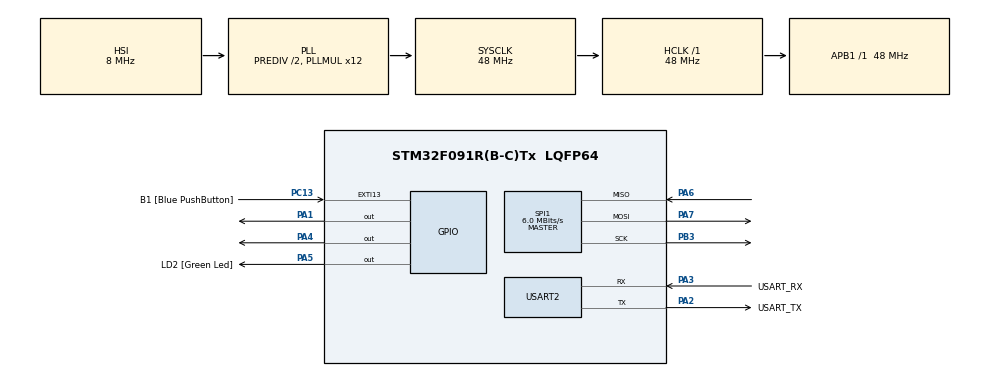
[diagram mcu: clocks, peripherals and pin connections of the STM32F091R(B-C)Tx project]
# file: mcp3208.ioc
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Mcu.Family=STM32F0
Mcu.Name=STM32F091R(B-C)Tx
Mcu.Package=LQFP64
PA1.Signal=GPIO_Output
PA13.GPIO_Label=TMS
PA13.Mode=Serial_Wire
PA13.Signal=SYS_SWDIO
PA14.GPIO_Label=TCK
PA14.Mode=Serial_Wire
PA14.Signal=SYS_SWCLK
PA2.GPIO_Label=USART_TX
PA2.GPIO_Mode=GPIO_MODE_AF_PP
PA2.GPIO_PuPd=GPIO_NOPULL
PA2.GPIO_Speed=GPIO_SPEED_FREQ_LOW
PA2.Mode=Asynchronous
PA2.Signal=USART2_TX
PA3.GPIO_Label=USART_RX
PA3.GPIO_Mode=GPIO_MODE_AF_PP
PA3.GPIO_PuPd=GPIO_NOPULL
PA3.GPIO_Speed=GPIO_SPEED_FREQ_LOW
PA3.Mode=Asynchronous
PA3.Signal=USART2_RX
PA4.Signal=GPIO_Output
PA5.GPIO_Label=LD2 [Green Led]
PA5.GPIO_Mode=GPIO_MODE_OUTPUT_PP
PA5.GPIO_PuPd=GPIO_NOPULL
PA5.GPIO_Speed=GPIO_SPEED_FREQ_LOW
PA5.Signal=GPIO_Output
PA6.Mode=Full_Duplex_Master
PA6.Signal=SPI1_MISO
PA7.Mode=Full_Duplex_Master
PA7.Signal=SPI1_MOSI
PB3.Mode=Full_Duplex_Master
PB3.Signal=SPI1_SCK
PC13.GPIO_Label=B1 [Blue PushButton]
PC13.GPIO_ModeDefaultEXTI=GPIO_MODE_IT_FALLING
PC13.Signal=GPXTI13
PC14OSC32_IN.Mode=LSE-External-Oscillator
PC14OSC32_IN.Signal=RCC_OSC32_IN
PC15OSC32_OUT.Mode=LSE-External-Oscillator
PC15OSC32_OUT.Signal=RCC_OSC32_OUT
PF0-OSC_IN.Mode=HSE-External-Clock-Source
PF0-OSC_IN.Signal=RCC_OSC_IN
PF1-OSC_OUT.Signal=RCC_OSC_OUT
ProjectManager.HeapSize=0x200
ProjectManager.StackSize=0x400
ProjectManager.TargetToolchain=STM32CubeIDE
RCC.AHBFreq_Value=48000000
RCC.APB1Freq_Value=48000000
RCC.APB1TimFreq_Value=48000000
RCC.FLatency-AdvancedSettings=FLASH_LATENCY_1
RCC.HCLKFreq_Value=48000000
RCC.PLLDivider=RCC_PREDIV_DIV2
RCC.PLLMUL=RCC_PLL_MUL12
RCC.PREFETCH_ENABLE-AdvancedSettings=1
RCC.SYSCLKFreq_VALUE=48000000
RCC.SYSCLKSource=RCC_SYSCLKSOURCE_PLLCLK
SPI1.BaudRatePrescaler=SPI_BAUDRATEPRESCALER_8
SPI1.CalculateBaudRate=6.0 MBits/s
SPI1.DataSize=SPI_DATASIZE_8BIT
SPI1.Direction=SPI_DIRECTION_2LINES
SPI1.Mode=SPI_MODE_MASTER
SPI1.NSSPMode=SPI_NSS_PULSE_DISABLE
SPI1.VirtualType=VM_MASTER
USART2.VirtualMode=VM_ASYNC
USART2.VirtualMode-Asynchronous=VM_ASYNC
board=NUCLEO-F091RC

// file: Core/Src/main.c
/* USER CODE BEGIN Header */
/**
  ******************************************************************************
  * @file           : main.c
  * @brief          : Main program body
  ******************************************************************************
  * @attention
  *
  * Copyright (c) 2022 STMicroelectronics.
  * All rights reserved.
  *
  * This software is licensed under terms that can be found in the LICENSE file
  * in the root directory of this software component.
  * If no LICENSE file comes with this software, it is provided AS-IS.
  *
  ******************************************************************************
  */
/* USER CODE END Header */
#include "main.h"

/* USER CODE BEGIN PM */
#define MCP3208_START_BIT 0x04
#define MCP3208_MODE_SINGLE 0x02
#define MCP3208_MODE_DIFF 0x00
/* USER CODE END PM */

SPI_HandleTypeDef hspi1;

UART_HandleTypeDef huart2;

/* USER CODE BEGIN PV */
uint16_t adcA[9] = {0};
uint16_t adcB[9] = {0};
double voltage13, voltage2, voltage3, current1, current2, current3 =0;
float voltage1 =0;
/* USER CODE END PV */

void SystemClock_Config(void);
static void MX_GPIO_Init(void);
static void MX_USART2_UART_Init(void);
static void MX_SPI1_Init(void);

/* USER CODE BEGIN 0 */
uint16_t AMCP3208_read_u16(uint8_t channel){
  uint8_t aTxBuffer[3];
  uint8_t aRxBuffer[3];

  aTxBuffer[0] = MCP3208_START_BIT | MCP3208_MODE_SINGLE | ((channel & 0x04) >> 2);
  aTxBuffer[1] = channel << 6;
  aTxBuffer[2] = 0x00;

  HAL_GPIO_WritePin(GPIOA, GPIO_PIN_4, GPIO_PIN_RESET);

  if(HAL_SPI_TransmitReceive(&hspi1, aTxBuffer, aRxBuffer, 3, 100) != HAL_OK)
  {
    /* Transfer error in transmission process */
    Error_Handler();
  }

 HAL_GPIO_WritePin(GPIOA, GPIO_PIN_4, GPIO_PIN_SET);

  // RX
  uint16_t conv_result = ((uint16_t)(aRxBuffer[1] & 0x0f) << 8) | (uint16_t)aRxBuffer[2];

  return conv_result;
}

uint16_t BMCP3208_read_u16(uint8_t channel){
  uint8_t aTxBuffer[3];
  uint8_t aRxBuffer[3];

  aTxBuffer[0] = MCP3208_START_BIT | MCP3208_MODE_SINGLE | ((channel & 0x04) >> 2);
  aTxBuffer[1] = (channel & 0x03) << 6;
  aTxBuffer[2] = 0;

  HAL_GPIO_WritePin(GPIOA, GPIO_PIN_1, GPIO_PIN_RESET);

  if(HAL_SPI_TransmitReceive(&hspi1, aTxBuffer, aRxBuffer, 3, 100) != HAL_OK)
  {
    /* Transfer error in transmission process */
    Error_Handler();
  }

 HAL_GPIO_WritePin(GPIOA, GPIO_PIN_1, GPIO_PIN_SET);

  // RX
  uint16_t conv_result = ((uint16_t)(aRxBuffer[1] & 0x0f) << 8) | (uint16_t)aRxBuffer[2];

  return conv_result;
}
/* USER CODE END 0 */

int main(void)
{

  /* MCU Configuration--------------------------------------------------------*/

  /* Reset of all peripherals, Initializes the Flash interface and the Systick. */
  HAL_Init();

  /* Configure the system clock */
  SystemClock_Config();

  /* Initialize all configured peripherals */
  MX_GPIO_Init();
  MX_USART2_UART_Init();
  MX_SPI1_Init();

  /* Infinite loop */
  while (1)
  {
    /* USER CODE BEGIN 3 */
	  adcA[0] = AMCP3208_read_u16(0);
	  //adcA[1] = AMCP3208_read_u16(1);
	  //adcA[2] = AMCP3208_read_u16(2);

	  //voltage1 =  (3.3*adcA[0])/4096;

	  	 //voltage1 = ((double)adcA[0]* 1024)/5;
		 voltage1 = ( adcA[0] * (5.9/4095));
		  //voltage2 = ((double) adcA[1] * (3.3/4095));
		 // voltage3 = ((double) adcA[2] * (3.3/4095));
		 /*// current1 = (2.66*voltage1) - 1.4053; //0.5 V basics
		  current1 = (2.6415*voltage1) - 1.3762;
		  if (current1 < 0){
			  current1 = 0;
		  }*/

		  current1 = (4.1597*voltage1) - 1.4276;
		  current2 = (4.1597*voltage2) - 1.4276;
		  current3 = (4.1597*voltage3) - 1.4276;
		  //current1 = (2.66*voltage1) - 1.4053;
	    if (current1 >= 2.3){
	    			HAL_GPIO_WritePin(GPIOA, GPIO_PIN_1, GPIO_PIN_RESET);
	    			HAL_Delay(1000);
	    		}
	    		else {
	    			HAL_GPIO_WritePin(GPIOA, GPIO_PIN_1, GPIO_PIN_SET);

	    	}
		//current2 = (0.089*voltage1) + 0.0018;

		/* 0.25Amp Current Detector Amplifier if (current2 >= 0.27){
			HAL_GPIO_WritePin(GPIOA, GPIO_PIN_1, GPIO_PIN_RESET);
			HAL_Delay(5000);
		}
		else {
			HAL_GPIO_WritePin(GPIOA, GPIO_PIN_1, GPIO_PIN_SET);

	}*/

	 // adcA[0] = AMCP3208_read_u16(0);

		  //adcA[1] = AMCP3208_read_u16(1);
		  //adcA[1] = AMCP3208_read_u16(1);
		  /*voltage1 = ( (double) adcA[0]* 5)/ (4095* 0.94); //0.905
		  current1 = (voltage1 - 0.1)/ 0.448;
*/
  }
  /* USER CODE END 3 */
}

void SystemClock_Config(void)
{
  RCC_OscInitTypeDef RCC_OscInitStruct = {0};
  RCC_ClkInitTypeDef RCC_ClkInitStruct = {0};
  RCC_PeriphCLKInitTypeDef PeriphClkInit = {0};

  /** Initializes the RCC Oscillators according to the specified parameters
  * in the RCC_OscInitTypeDef structure.
  */
  RCC_OscInitStruct.OscillatorType = RCC_OSCILLATORTYPE_HSI;
  RCC_OscInitStruct.HSIState = RCC_HSI_ON;
  RCC_OscInitStruct.HSICalibrationValue = RCC_HSICALIBRATION_DEFAULT;
  RCC_OscInitStruct.PLL.PLLState = RCC_PLL_ON;
  RCC_OscInitStruct.PLL.PLLSource = RCC_PLLSOURCE_HSI;
  RCC_OscInitStruct.PLL.PLLMUL = RCC_PLL_MUL12;
  RCC_OscInitStruct.PLL.PREDIV = RCC_PREDIV_DIV2;
  if (HAL_RCC_OscConfig(&RCC_OscInitStruct) != HAL_OK)
  {
    Error_Handler();
  }
  /** Initializes the CPU, AHB and APB buses clocks
  */
  RCC_ClkInitStruct.ClockType = RCC_CLOCKTYPE_HCLK|RCC_CLOCKTYPE_SYSCLK
                              |RCC_CLOCKTYPE_PCLK1;
  RCC_ClkInitStruct.SYSCLKSource = RCC_SYSCLKSOURCE_PLLCLK;
  RCC_ClkInitStruct.AHBCLKDivider = RCC_SYSCLK_DIV1;
  RCC_ClkInitStruct.APB1CLKDivider = RCC_HCLK_DIV1;

  if (HAL_RCC_ClockConfig(&RCC_ClkInitStruct, FLASH_LATENCY_1) != HAL_OK)
  {
    Error_Handler();
  }
  PeriphClkInit.PeriphClockSelection = RCC_PERIPHCLK_USART2;
  PeriphClkInit.Usart2ClockSelection = RCC_USART2CLKSOURCE_PCLK1;
  if (HAL_RCCEx_PeriphCLKConfig(&PeriphClkInit) != HAL_OK)
  {
    Error_Handler();
  }
}

static void MX_SPI1_Init(void)
{

  /* SPI1 parameter configuration*/
  hspi1.Instance = SPI1;
  hspi1.Init.Mode = SPI_MODE_MASTER;
  hspi1.Init.Direction = SPI_DIRECTION_2LINES;
  hspi1.Init.DataSize = SPI_DATASIZE_8BIT;
  hspi1.Init.CLKPolarity = SPI_POLARITY_LOW;
  hspi1.Init.CLKPhase = SPI_PHASE_1EDGE;
  hspi1.Init.NSS = SPI_NSS_SOFT;
  hspi1.Init.BaudRatePrescaler = SPI_BAUDRATEPRESCALER_8;
  hspi1.Init.FirstBit = SPI_FIRSTBIT_MSB;
  hspi1.Init.TIMode = SPI_TIMODE_DISABLE;
  hspi1.Init.CRCCalculation = SPI_CRCCALCULATION_DISABLE;
  hspi1.Init.CRCPolynomial = 7;
  hspi1.Init.CRCLength = SPI_CRC_LENGTH_DATASIZE;
  hspi1.Init.NSSPMode = SPI_NSS_PULSE_DISABLE;
  if (HAL_SPI_Init(&hspi1) != HAL_OK)
  {
    Error_Handler();
  }

}

static void MX_USART2_UART_Init(void)
{

  huart2.Instance = USART2;
  huart2.Init.BaudRate = 115200;
  huart2.Init.WordLength = UART_WORDLENGTH_8B;
  huart2.Init.StopBits = UART_STOPBITS_1;
  huart2.Init.Parity = UART_PARITY_NONE;
  huart2.Init.Mode = UART_MODE_TX_RX;
  huart2.Init.HwFlowCtl = UART_HWCONTROL_NONE;
  huart2.Init.OverSampling = UART_OVERSAMPLING_16;
  huart2.Init.OneBitSampling = UART_ONE_BIT_SAMPLE_DISABLE;
  huart2.AdvancedInit.AdvFeatureInit = UART_ADVFEATURE_NO_INIT;
  if (HAL_UART_Init(&huart2) != HAL_OK)
  {
    Error_Handler();
  }

}

static void MX_GPIO_Init(void)
{
  GPIO_InitTypeDef GPIO_InitStruct = {0};

  /* GPIO Ports Clock Enable */
  __HAL_RCC_GPIOC_CLK_ENABLE();
  __HAL_RCC_GPIOF_CLK_ENABLE();
  __HAL_RCC_GPIOA_CLK_ENABLE();
  __HAL_RCC_GPIOB_CLK_ENABLE();

  /*Configure GPIO pin Output Level */
  HAL_GPIO_WritePin(GPIOA, GPIO_PIN_1|GPIO_PIN_4|LD2_Pin, GPIO_PIN_RESET);

  /*Configure GPIO pin : B1_Pin */
  GPIO_InitStruct.Pin = B1_Pin;
  GPIO_InitStruct.Mode = GPIO_MODE_IT_FALLING;
  GPIO_InitStruct.Pull = GPIO_NOPULL;
  HAL_GPIO_Init(B1_GPIO_Port, &GPIO_InitStruct);

  /*Configure GPIO pins : PA1 PA4 LD2_Pin */
  GPIO_InitStruct.Pin = GPIO_PIN_1|GPIO_PIN_4|LD2_Pin;
  GPIO_InitStruct.Mode = GPIO_MODE_OUTPUT_PP;
  GPIO_InitStruct.Pull = GPIO_NOPULL;
  GPIO_InitStruct.Speed = GPIO_SPEED_FREQ_LOW;
  HAL_GPIO_Init(GPIOA, &GPIO_InitStruct);

}

void Error_Handler(void)
{
  __disable_irq();
  while (1)
  {
  }
}
